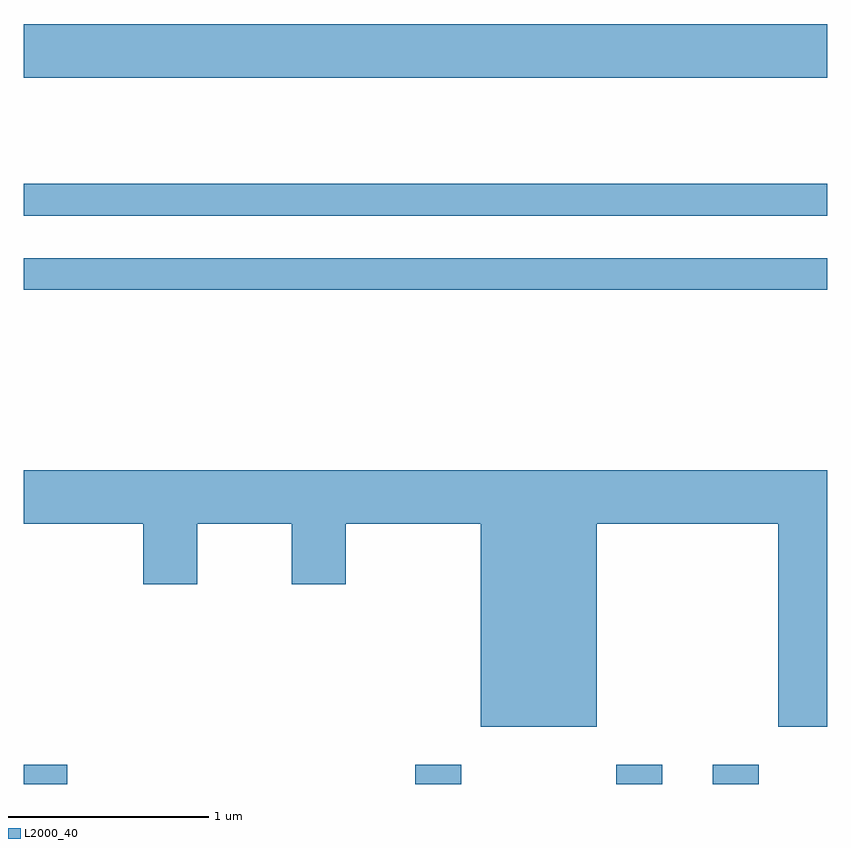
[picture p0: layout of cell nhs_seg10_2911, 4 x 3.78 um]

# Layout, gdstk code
import gdstk
lib = gdstk.Library(unit=1e-6, precision=1e-09)
def R(c, l, rs):  # rectangles x0, y0, x1, y1
    for r in rs: c.add(gdstk.rectangle(r[:2], r[2:], *l))
def P(c, l, *ps):  # polygons
    for p in ps: c.add(gdstk.Polygon(p, *l))
L2000_40 = (2000, 40)

nhs_seg10_2911 = lib.new_cell('nhs_seg10_2911')
R(nhs_seg10_2911, L2000_40, [(269.611,2212.522,269.829,2212.619), (271.561,2212.522,271.789,2212.619), (272.561,2212.522,272.789,2212.619), (273.041,2212.522,273.269,2212.619), (269.611,2214.981,273.611,2215.139), (269.611,2215.351,273.611,2215.509), (269.611,2216.036,273.611,2216.304)])
P(nhs_seg10_2911, L2000_40, [(272.464,2213.816),(273.366,2213.816),(273.366,2212.806),(273.611,2212.806),(273.611,2214.084),(269.611,2214.084),(269.611,2213.816),(270.206,2213.816),(270.206,2213.516),(270.474,2213.516),(270.474,2213.816),(270.946,2213.816),(270.946,2213.516),(271.214,2213.516),(271.214,2213.816),(271.886,2213.816),(271.886,2212.806),(272.464,2212.806)])

lib.write_gds('nhs_seg10_2911.gds')
